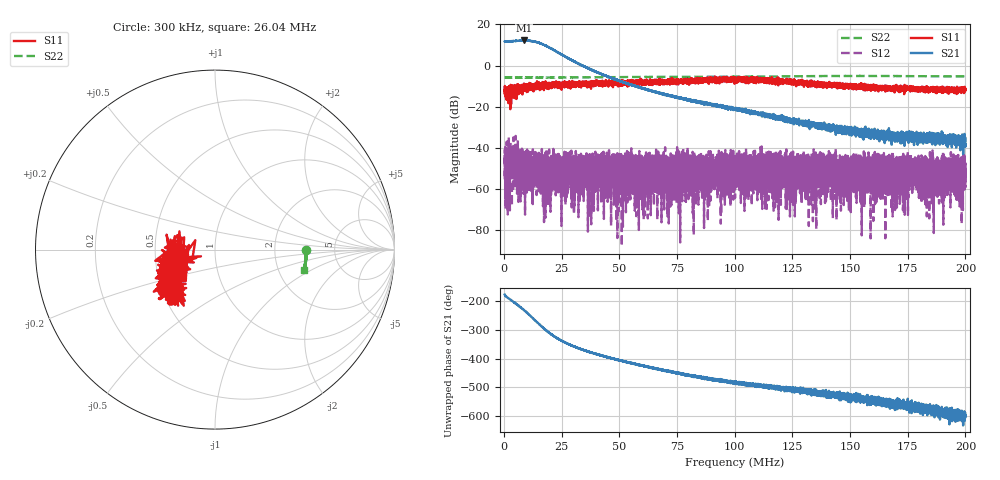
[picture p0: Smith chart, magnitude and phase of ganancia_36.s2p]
# Hz S DB R 50
! CMT, M5065, 19127446, 24.2.4/2
! Date: 11/8/2024 5:14:11 PM
! Data: Format (Calibration Info)
! Freq	S11:dB/Ang(F2)	S21:dB/Ang(F2)	S12:dB/Ang(F2)	S22:dB/Ang(F2)
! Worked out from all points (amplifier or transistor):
!   9000 points, 300 kHz to 200 MHz, reference 50 ohm
!   highest |S21| = 12.2 dB at 8.644 MHz (marker M1)
!   |S21| within 3 dB of that: start of sweep to 18.91 MHz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
!   unconditionally stable (mu >= 1): start of sweep to end of sweep
!   at 33.59 MHz: K = 256.64, MAG = 2.1 dB, |S12| = -58.3 dB
!   at 100.2 MHz: K = 5579.57, MAG = -18.9 dB, |S12| = -64.4 dB
!   at 200 MHz: K = 14481.35, MAG = -37.1 dB, |S12| = -54.0 dB
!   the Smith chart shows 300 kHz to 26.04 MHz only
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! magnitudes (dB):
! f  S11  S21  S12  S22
! 300 kHz  -11.9  11.7  -43.5  -5.9
! 1.609 MHz  -13.7  11.8  -60.9  -5.9
! 4.494 MHz  -11.7  11.9  -46.6  -5.9
! 8.644 MHz  -11.5  12.2  -47.0  -5.9
! 13.99 MHz  -10.6  11.4  -47.6  -5.9
! 17.28 MHz  -9.8  10.1  -45.4  -5.8
! 23 MHz  -8.9  6.6  -51.5  -5.8
! 24.67 MHz  -8.9  5.6  -49.8  -5.8
! 27.88 MHz  -8.1  3.5  -55.1  -5.8
! 31.32 MHz  -9.9  1.4  -62.1  -5.8
! 33.59 MHz  -8.8  0.2  -58.3  -5.7
! 66.87 MHz  -8.4  -13.2  -41.9  -5.5
! 100.2 MHz  -7.2  -21.3  -64.4  -5.4
! 133.4 MHz  -8.3  -28.0  -59.5  -5.1
! 137.2 MHz  -8.9  -29.8  -45.9  -5.1
! 166.7 MHz  -11.1  -33.9  -51.0  -5.1
! 173.8 MHz  -12.4  -35.1  -61.8  -5.2
! 177.8 MHz  -11.7  -34.9  -48.6  -5.2
! 183.5 MHz  -11.0  -35.9  -57.3  -5.2
! 194.7 MHz  -11.2  -36.1  -48.4  -5.3
! 197.9 MHz  -11.3  -36.3  -61.0  -5.3
! 200 MHz  -11.9  -38.9  -54.0  -5.3
